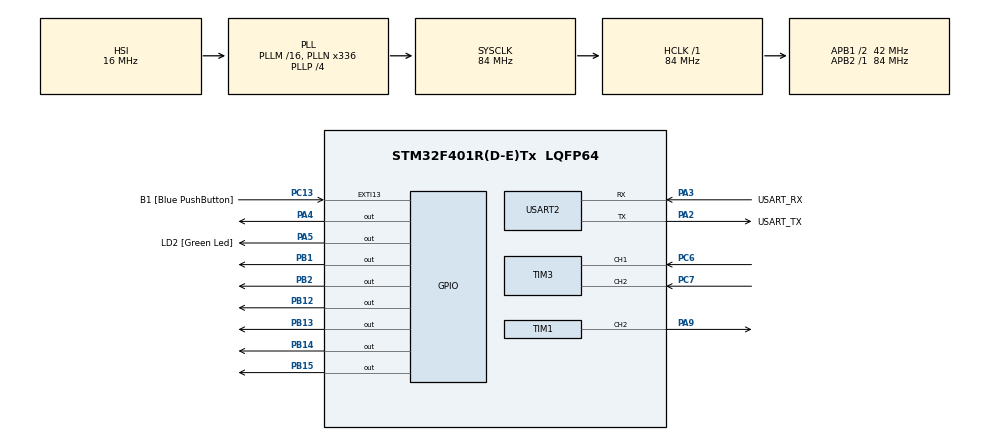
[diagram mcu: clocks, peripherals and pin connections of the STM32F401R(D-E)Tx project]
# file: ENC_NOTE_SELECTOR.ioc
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Dma.Request0=USART2_TX
Dma.USART2_TX.0.Direction=DMA_MEMORY_TO_PERIPH
Dma.USART2_TX.0.FIFOMode=DMA_FIFOMODE_DISABLE
Dma.USART2_TX.0.Instance=DMA1_Stream6
Dma.USART2_TX.0.MemDataAlignment=DMA_MDATAALIGN_BYTE
Dma.USART2_TX.0.MemInc=DMA_MINC_ENABLE
Dma.USART2_TX.0.Mode=DMA_NORMAL
Dma.USART2_TX.0.PeriphDataAlignment=DMA_PDATAALIGN_BYTE
Dma.USART2_TX.0.PeriphInc=DMA_PINC_DISABLE
Dma.USART2_TX.0.Priority=DMA_PRIORITY_HIGH
Mcu.Family=STM32F4
Mcu.Name=STM32F401R(D-E)Tx
Mcu.Package=LQFP64
NVIC.DMA1_Stream6_IRQn=true\:0\:0\:false\:false\:true\:false\:true\:true
NVIC.PriorityGroup=NVIC_PRIORITYGROUP_4
NVIC.TIM2_IRQn=true\:0\:0\:false\:false\:true\:true\:true\:true
NVIC.TIM4_IRQn=true\:0\:0\:false\:false\:true\:true\:true\:true
NVIC.USART2_IRQn=true\:0\:0\:false\:false\:true\:true\:true\:true
PA13.GPIO_Label=TMS
PA13.Mode=Trace_Asynchronous_SW
PA13.Signal=SYS_JTMS-SWDIO
PA14.GPIO_Label=TCK
PA14.Mode=Trace_Asynchronous_SW
PA14.Signal=SYS_JTCK-SWCLK
PA2.GPIO_Label=USART_TX
PA2.GPIO_Mode=GPIO_MODE_AF_PP
PA2.GPIO_PuPd=GPIO_NOPULL
PA2.GPIO_Speed=GPIO_SPEED_FREQ_LOW
PA2.Mode=Asynchronous
PA2.Signal=USART2_TX
PA3.GPIO_Label=USART_RX
PA3.GPIO_Mode=GPIO_MODE_AF_PP
PA3.GPIO_PuPd=GPIO_NOPULL
PA3.GPIO_Speed=GPIO_SPEED_FREQ_LOW
PA3.Mode=Asynchronous
PA3.Signal=USART2_RX
PA4.Signal=GPIO_Output
PA5.GPIO_Label=LD2 [Green Led]
PA5.GPIO_Mode=GPIO_MODE_OUTPUT_PP
PA5.GPIO_PuPd=GPIO_NOPULL
PA5.GPIO_Speed=GPIO_SPEED_FREQ_LOW
PA5.Signal=GPIO_Output
PA9.Signal=S_TIM1_CH2
PB1.Signal=GPIO_Output
PB12.Signal=GPIO_Output
PB13.Signal=GPIO_Output
PB14.Signal=GPIO_Output
PB15.Signal=GPIO_Output
PB2.Signal=GPIO_Output
PB3.GPIO_Label=SWO
PB3.Mode=Trace_Asynchronous_SW
PB3.Signal=SYS_JTDO-SWO
PC13-ANTI_TAMP.GPIO_Label=B1 [Blue PushButton]
PC13-ANTI_TAMP.GPIO_ModeDefaultEXTI=GPIO_MODE_IT_FALLING
PC13-ANTI_TAMP.GPIO_PuPd=GPIO_NOPULL
PC13-ANTI_TAMP.Signal=GPXTI13
PC14-OSC32_IN.Mode=LSE-External-Oscillator
PC14-OSC32_IN.Signal=RCC_OSC32_IN
PC15-OSC32_OUT.Mode=LSE-External-Oscillator
PC15-OSC32_OUT.Signal=RCC_OSC32_OUT
PC6.Signal=S_TIM3_CH1
PC7.Signal=S_TIM3_CH2
PH0\ -\ OSC_IN.Mode=HSE-External-Clock-Source
PH0\ -\ OSC_IN.Signal=RCC_OSC_IN
PH1\ -\ OSC_OUT.Mode=HSE-External-Clock-Source
PH1\ -\ OSC_OUT.Signal=RCC_OSC_OUT
ProjectManager.HeapSize=0x200
ProjectManager.StackSize=0x400
ProjectManager.TargetToolchain=STM32CubeIDE
RCC.48MHZClocksFreq_Value=48000000
RCC.AHBFreq_Value=84000000
RCC.APB1CLKDivider=RCC_HCLK_DIV2
RCC.APB1Freq_Value=42000000
RCC.APB1TimFreq_Value=84000000
RCC.APB2Freq_Value=84000000
RCC.APB2TimFreq_Value=84000000
RCC.CortexFreq_Value=84000000
RCC.HCLKFreq_Value=84000000
RCC.HSE_VALUE=8000000
RCC.HSI_VALUE=16000000
RCC.PLLN=336
RCC.PLLP=RCC_PLLP_DIV4
RCC.PLLQ=7
RCC.SYSCLKFreq_VALUE=84000000
RCC.SYSCLKSource=RCC_SYSCLKSOURCE_PLLCLK
RCC.VCOOutputFreq_Value=336000000
SH.S_TIM1_CH2.0=TIM1_CH2,PWM Generation2 CH2
SH.S_TIM3_CH1.0=TIM3_CH1,Encoder_Interface
SH.S_TIM3_CH2.0=TIM3_CH2,Encoder_Interface
TIM1.Channel-PWM\ Generation2\ CH2=TIM_CHANNEL_2
TIM1.Period=1909
TIM1.Prescaler=99
TIM1.Pulse-PWM\ Generation2\ CH2=954
TIM2.Period=8399
TIM2.Prescaler=9999
TIM3.ClockDivision=TIM_CLOCKDIVISION_DIV4
TIM3.IC1Filter=15
TIM3.IC1Polarity=TIM_ICPOLARITY_FALLING
TIM4.Period=2099
TIM4.Prescaler=9999
USART2.VirtualMode=VM_ASYNC
VP_TIM2_VS_ClockSourceINT.Mode=Internal
VP_TIM4_VS_ClockSourceINT.Mode=Internal
board=NUCLEO-F401RE

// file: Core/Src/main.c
/* USER CODE BEGIN Header */
/**
  ******************************************************************************
  * @file           : main.c
  * @brief          : Main program body
  ******************************************************************************
  * @attention
  *
  * Copyright (c) 2026 STMicroelectronics.
  * All rights reserved.
  *
  * This software is licensed under terms that can be found in the LICENSE file
  * in the root directory of this software component.
  * If no LICENSE file comes with this software, it is provided AS-IS.
  *
  ******************************************************************************
  */
/* USER CODE END Header */
#include "main.h"

/* USER CODE BEGIN Includes */
#include "stdio.h"
#include "string.h"
#include "PMDB16_LCD.h"
/* USER CODE END Includes */

/* USER CODE BEGIN PTD */
// Definiamo una struttura "Note"
typedef struct {
	char* Note;
    int Period;
    int Duration;
} Note;

/* USER CODE END PTD */

/* USER CODE BEGIN PD */
#define STEPS_PER_REVOLUTION 24

#define PeriodFA4 2405   // F4 = 349.23 Hz
#define PeriodLA4 1909   // A4 = 440.00 Hz
#define PeriodSI4 1701   // B4 = 493.88 Hz
#define PeriodDO5 1605   // C5 = 523.25 Hz
#define PeriodRE5 1430   // D5 = 587.33 Hz
#define PeriodMI5 1274   // E5 = 659.25 Hz
/* USER CODE END PD */

TIM_HandleTypeDef htim1;
TIM_HandleTypeDef htim2;
TIM_HandleTypeDef htim3;
TIM_HandleTypeDef htim4;

UART_HandleTypeDef huart2;
DMA_HandleTypeDef hdma_usart2_tx;

/* USER CODE BEGIN PV */
char tx_buffer[50];
float rpm;
static uint16_t value;
static uint16_t past_value=0;

// Song
int i=0;
int ticks=0;
uint32_t duration_note=500; // valore a caso

Note Swan_Lake[] = {
		{"Mi", PeriodMI5, 4},
		{"La", PeriodLA4, 1},
		{"Si", PeriodSI4, 1},
		{"Do", PeriodDO5, 1},
		{"Re", PeriodRE5, 1},
		{"Mi", PeriodMI5, 3},
		{"Do", PeriodDO5, 1},
		{"Mi", PeriodMI5, 3},
		{"Do", PeriodDO5, 1},
		{"Mi", PeriodMI5, 3},
		{"La", PeriodLA4, 1},
		{"Do", PeriodDO5, 1},
		{"La", PeriodLA4, 1},
		{"Fa", PeriodFA4, 1},
		{"Do", PeriodDO5, 1},
		{"La", PeriodLA4, 4}
};

// LCD
char lcd_buffer[17]; // Buffer per la stringa (16 char + terminatore)
volatile int note_changed=0;

/* USER CODE END PV */

void SystemClock_Config(void);
static void MX_GPIO_Init(void);
static void MX_DMA_Init(void);
static void MX_USART2_UART_Init(void);
static void MX_TIM2_Init(void);
static void MX_TIM3_Init(void);
static void MX_TIM4_Init(void);
static void MX_TIM1_Init(void);
/* USER CODE BEGIN PFP */
void play_note(uint32_t Period, uint32_t Duration);
/* USER CODE END PFP */

/* USER CODE BEGIN 0 */

void play_note(uint32_t Period, uint32_t Duration){
    //duration_note=Duration;
    ticks=0;

	// Aggiorna il Periodo (frequenza) nel registro del Timer
    // L'unica variabile da ri-inizializzare è quella di base (più veloce di HAL_TIM_Base_Init)
    // Usiamo una macro veloce che accede direttamente al registro
    __HAL_TIM_SET_AUTORELOAD(&htim1, Period - 1);

    // Aggiorna il Pulse (Duty Cycle)
    __HAL_TIM_SET_COMPARE(&htim1, TIM_CHANNEL_2, Period / 2);

    // Fai suonare nota
	HAL_TIM_PWM_Start(&htim1, TIM_CHANNEL_2);
}
void HAL_TIM_PeriodElapsedCallback(TIM_HandleTypeDef *htim)
{
    if (htim->Instance == TIM2)
    {
    	// Per osservare quanti "step" corrispondono ad una rivoluzione completa
    	// Così abbiamo letto CNT = 24
    	/*uint16_t curr = __HAL_TIM_GET_COUNTER(&htim3);
    	int len = sprintf(tx_buffer, "CNT = %u\r\n", curr);
    	HAL_UART_Transmit_DMA(&huart2, (uint8_t*)tx_buffer, len);*/

    	value = __HAL_TIM_GET_COUNTER(&htim3);
    	int16_t delta = (int16_t) (value-past_value);
    	rpm = ((float)delta/STEPS_PER_REVOLUTION)*60.0f;

    	if(rpm>0.1f){
    		// Rotazione Oraria
    		note_changed=1;
    		i+=1;
    		if(i==(sizeof(Swan_Lake)/sizeof(Swan_Lake[0]))){
    			i=0;
    		}
    		play_note(Swan_Lake[i].Period, Swan_Lake[i].Duration);
    	}else if(rpm<(-0.1f)){
    		// Rotazione Antioriaria
    		note_changed=1;
    		i-=1;
    		if(i<0){
    			i=(sizeof(Swan_Lake)/sizeof(Swan_Lake[0]))-1;
    		}
    		play_note(Swan_Lake[i].Period, Swan_Lake[i].Duration);
    	}

    	past_value=value;

    }

	/*if(htim->Instance == TIM4){
		ticks+=1;
		if(ticks==duration_note){
			i+=1;
			if(i==(sizeof(Swan_Lake)/sizeof(Swan_Lake[0]))){ // Fine Canzone
				i=0;
			}
			play_note(Swan_Lake[i].Period, Swan_Lake[i].Duration);
			}
		}*/
}

/* USER CODE END 0 */

int main(void)
{

  /* MCU Configuration--------------------------------------------------------*/

  /* Reset of all peripherals, Initializes the Flash interface and the Systick. */
  HAL_Init();

  /* Configure the system clock */
  SystemClock_Config();

  /* Initialize all configured peripherals */
  MX_GPIO_Init();
  MX_DMA_Init();
  MX_USART2_UART_Init();
  MX_TIM2_Init();
  MX_TIM3_Init();
  MX_TIM4_Init();
  MX_TIM1_Init();
  /* USER CODE BEGIN 2 */
  HAL_TIM_Encoder_Start(&htim3, TIM_CHANNEL_ALL);
  HAL_TIM_Base_Start_IT(&htim2);
  HAL_TIM_Base_Start_IT(&htim4);

  // Suona la prima nota
  play_note(Swan_Lake[i].Period, Swan_Lake[i].Duration);

  // LCD initialization
    lcd_initialize();
    lcd_backlight_ON();

  /* USER CODE END 2 */

  /* Infinite loop */
  while (1)
  {

    /* USER CODE BEGIN 3 */
	  if(note_changed==1){
		  note_changed=0;
		  lcd_clear();
		  sprintf(lcd_buffer, "Nota: %s", Swan_Lake[i].Note);
		  lcd_println(lcd_buffer,0);
	  }

  }
  /* USER CODE END 3 */
}

void SystemClock_Config(void)
{
  RCC_OscInitTypeDef RCC_OscInitStruct = {0};
  RCC_ClkInitTypeDef RCC_ClkInitStruct = {0};

  /** Configure the main internal regulator output voltage
  */
  __HAL_RCC_PWR_CLK_ENABLE();
  __HAL_PWR_VOLTAGESCALING_CONFIG(PWR_REGULATOR_VOLTAGE_SCALE2);

  /** Initializes the RCC Oscillators according to the specified parameters
  * in the RCC_OscInitTypeDef structure.
  */
  RCC_OscInitStruct.OscillatorType = RCC_OSCILLATORTYPE_HSI;
  RCC_OscInitStruct.HSIState = RCC_HSI_ON;
  RCC_OscInitStruct.HSICalibrationValue = RCC_HSICALIBRATION_DEFAULT;
  RCC_OscInitStruct.PLL.PLLState = RCC_PLL_ON;
  RCC_OscInitStruct.PLL.PLLSource = RCC_PLLSOURCE_HSI;
  RCC_OscInitStruct.PLL.PLLM = 16;
  RCC_OscInitStruct.PLL.PLLN = 336;
  RCC_OscInitStruct.PLL.PLLP = RCC_PLLP_DIV4;
  RCC_OscInitStruct.PLL.PLLQ = 7;
  if (HAL_RCC_OscConfig(&RCC_OscInitStruct) != HAL_OK)
  {
    Error_Handler();
  }

  /** Initializes the CPU, AHB and APB buses clocks
  */
  RCC_ClkInitStruct.ClockType = RCC_CLOCKTYPE_HCLK|RCC_CLOCKTYPE_SYSCLK
                              |RCC_CLOCKTYPE_PCLK1|RCC_CLOCKTYPE_PCLK2;
  RCC_ClkInitStruct.SYSCLKSource = RCC_SYSCLKSOURCE_PLLCLK;
  RCC_ClkInitStruct.AHBCLKDivider = RCC_SYSCLK_DIV1;
  RCC_ClkInitStruct.APB1CLKDivider = RCC_HCLK_DIV2;
  RCC_ClkInitStruct.APB2CLKDivider = RCC_HCLK_DIV1;

  if (HAL_RCC_ClockConfig(&RCC_ClkInitStruct, FLASH_LATENCY_2) != HAL_OK)
  {
    Error_Handler();
  }
}

static void MX_TIM1_Init(void)
{

  TIM_MasterConfigTypeDef sMasterConfig = {0};
  TIM_OC_InitTypeDef sConfigOC = {0};
  TIM_BreakDeadTimeConfigTypeDef sBreakDeadTimeConfig = {0};

  htim1.Instance = TIM1;
  htim1.Init.Prescaler = 99;
  htim1.Init.CounterMode = TIM_COUNTERMODE_UP;
  htim1.Init.Period = 1909;
  htim1.Init.ClockDivision = TIM_CLOCKDIVISION_DIV1;
  htim1.Init.RepetitionCounter = 0;
  htim1.Init.AutoReloadPreload = TIM_AUTORELOAD_PRELOAD_DISABLE;
  if (HAL_TIM_PWM_Init(&htim1) != HAL_OK)
  {
    Error_Handler();
  }
  sMasterConfig.MasterOutputTrigger = TIM_TRGO_RESET;
  sMasterConfig.MasterSlaveMode = TIM_MASTERSLAVEMODE_DISABLE;
  if (HAL_TIMEx_MasterConfigSynchronization(&htim1, &sMasterConfig) != HAL_OK)
  {
    Error_Handler();
  }
  sConfigOC.OCMode = TIM_OCMODE_PWM1;
  sConfigOC.Pulse = 954;
  sConfigOC.OCPolarity = TIM_OCPOLARITY_HIGH;
  sConfigOC.OCNPolarity = TIM_OCNPOLARITY_HIGH;
  sConfigOC.OCFastMode = TIM_OCFAST_DISABLE;
  sConfigOC.OCIdleState = TIM_OCIDLESTATE_RESET;
  sConfigOC.OCNIdleState = TIM_OCNIDLESTATE_RESET;
  if (HAL_TIM_PWM_ConfigChannel(&htim1, &sConfigOC, TIM_CHANNEL_2) != HAL_OK)
  {
    Error_Handler();
  }
  sBreakDeadTimeConfig.OffStateRunMode = TIM_OSSR_DISABLE;
  sBreakDeadTimeConfig.OffStateIDLEMode = TIM_OSSI_DISABLE;
  sBreakDeadTimeConfig.LockLevel = TIM_LOCKLEVEL_OFF;
  sBreakDeadTimeConfig.DeadTime = 0;
  sBreakDeadTimeConfig.BreakState = TIM_BREAK_DISABLE;
  sBreakDeadTimeConfig.BreakPolarity = TIM_BREAKPOLARITY_HIGH;
  sBreakDeadTimeConfig.AutomaticOutput = TIM_AUTOMATICOUTPUT_DISABLE;
  if (HAL_TIMEx_ConfigBreakDeadTime(&htim1, &sBreakDeadTimeConfig) != HAL_OK)
  {
    Error_Handler();
  }
  HAL_TIM_MspPostInit(&htim1);

}

static void MX_TIM2_Init(void)
{

  TIM_ClockConfigTypeDef sClockSourceConfig = {0};
  TIM_MasterConfigTypeDef sMasterConfig = {0};

  htim2.Instance = TIM2;
  htim2.Init.Prescaler = 9999;
  htim2.Init.CounterMode = TIM_COUNTERMODE_UP;
  htim2.Init.Period = 8399;
  htim2.Init.ClockDivision = TIM_CLOCKDIVISION_DIV1;
  htim2.Init.AutoReloadPreload = TIM_AUTORELOAD_PRELOAD_DISABLE;
  if (HAL_TIM_Base_Init(&htim2) != HAL_OK)
  {
    Error_Handler();
  }
  sClockSourceConfig.ClockSource = TIM_CLOCKSOURCE_INTERNAL;
  if (HAL_TIM_ConfigClockSource(&htim2, &sClockSourceConfig) != HAL_OK)
  {
    Error_Handler();
  }
  sMasterConfig.MasterOutputTrigger = TIM_TRGO_RESET;
  sMasterConfig.MasterSlaveMode = TIM_MASTERSLAVEMODE_DISABLE;
  if (HAL_TIMEx_MasterConfigSynchronization(&htim2, &sMasterConfig) != HAL_OK)
  {
    Error_Handler();
  }

}

static void MX_TIM3_Init(void)
{

  TIM_Encoder_InitTypeDef sConfig = {0};
  TIM_MasterConfigTypeDef sMasterConfig = {0};

  htim3.Instance = TIM3;
  htim3.Init.Prescaler = 0;
  htim3.Init.CounterMode = TIM_COUNTERMODE_UP;
  htim3.Init.Period = 65535;
  htim3.Init.ClockDivision = TIM_CLOCKDIVISION_DIV4;
  htim3.Init.AutoReloadPreload = TIM_AUTORELOAD_PRELOAD_DISABLE;
  sConfig.EncoderMode = TIM_ENCODERMODE_TI1;
  sConfig.IC1Polarity = TIM_ICPOLARITY_FALLING;
  sConfig.IC1Selection = TIM_ICSELECTION_DIRECTTI;
  sConfig.IC1Prescaler = TIM_ICPSC_DIV1;
  sConfig.IC1Filter = 15;
  sConfig.IC2Polarity = TIM_ICPOLARITY_RISING;
  sConfig.IC2Selection = TIM_ICSELECTION_DIRECTTI;
  sConfig.IC2Prescaler = TIM_ICPSC_DIV1;
  sConfig.IC2Filter = 0;
  if (HAL_TIM_Encoder_Init(&htim3, &sConfig) != HAL_OK)
  {
    Error_Handler();
  }
  sMasterConfig.MasterOutputTrigger = TIM_TRGO_RESET;
  sMasterConfig.MasterSlaveMode = TIM_MASTERSLAVEMODE_DISABLE;
  if (HAL_TIMEx_MasterConfigSynchronization(&htim3, &sMasterConfig) != HAL_OK)
  {
    Error_Handler();
  }

}

static void MX_TIM4_Init(void)
{

  TIM_ClockConfigTypeDef sClockSourceConfig = {0};
  TIM_MasterConfigTypeDef sMasterConfig = {0};

  htim4.Instance = TIM4;
  htim4.Init.Prescaler = 9999;
  htim4.Init.CounterMode = TIM_COUNTERMODE_UP;
  htim4.Init.Period = 2099;
  htim4.Init.ClockDivision = TIM_CLOCKDIVISION_DIV1;
  htim4.Init.AutoReloadPreload = TIM_AUTORELOAD_PRELOAD_DISABLE;
  if (HAL_TIM_Base_Init(&htim4) != HAL_OK)
  {
    Error_Handler();
  }
  sClockSourceConfig.ClockSource = TIM_CLOCKSOURCE_INTERNAL;
  if (HAL_TIM_ConfigClockSource(&htim4, &sClockSourceConfig) != HAL_OK)
  {
    Error_Handler();
  }
  sMasterConfig.MasterOutputTrigger = TIM_TRGO_RESET;
  sMasterConfig.MasterSlaveMode = TIM_MASTERSLAVEMODE_DISABLE;
  if (HAL_TIMEx_MasterConfigSynchronization(&htim4, &sMasterConfig) != HAL_OK)
  {
    Error_Handler();
  }

}

static void MX_USART2_UART_Init(void)
{

  huart2.Instance = USART2;
  huart2.Init.BaudRate = 115200;
  huart2.Init.WordLength = UART_WORDLENGTH_8B;
  huart2.Init.StopBits = UART_STOPBITS_1;
  huart2.Init.Parity = UART_PARITY_NONE;
  huart2.Init.Mode = UART_MODE_TX_RX;
  huart2.Init.HwFlowCtl = UART_HWCONTROL_NONE;
  huart2.Init.OverSampling = UART_OVERSAMPLING_16;
  if (HAL_UART_Init(&huart2) != HAL_OK)
  {
    Error_Handler();
  }

}

static void MX_DMA_Init(void)
{

  /* DMA controller clock enable */
  __HAL_RCC_DMA1_CLK_ENABLE();

  /* DMA interrupt init */
  /* DMA1_Stream6_IRQn interrupt configuration */
  HAL_NVIC_SetPriority(DMA1_Stream6_IRQn, 0, 0);
  HAL_NVIC_EnableIRQ(DMA1_Stream6_IRQn);

}

static void MX_GPIO_Init(void)
{
  GPIO_InitTypeDef GPIO_InitStruct = {0};

  /* GPIO Ports Clock Enable */
  __HAL_RCC_GPIOC_CLK_ENABLE();
  __HAL_RCC_GPIOH_CLK_ENABLE();
  __HAL_RCC_GPIOA_CLK_ENABLE();
  __HAL_RCC_GPIOB_CLK_ENABLE();

  /*Configure GPIO pin Output Level */
  HAL_GPIO_WritePin(GPIOA, GPIO_PIN_4|LD2_Pin, GPIO_PIN_RESET);

  /*Configure GPIO pin Output Level */
  HAL_GPIO_WritePin(GPIOB, GPIO_PIN_1|GPIO_PIN_2|GPIO_PIN_12|GPIO_PIN_13
                          |GPIO_PIN_14|GPIO_PIN_15, GPIO_PIN_RESET);

  /*Configure GPIO pin : B1_Pin */
  GPIO_InitStruct.Pin = B1_Pin;
  GPIO_InitStruct.Mode = GPIO_MODE_IT_FALLING;
  GPIO_InitStruct.Pull = GPIO_NOPULL;
  HAL_GPIO_Init(B1_GPIO_Port, &GPIO_InitStruct);

  /*Configure GPIO pins : PA4 LD2_Pin */
  GPIO_InitStruct.Pin = GPIO_PIN_4|LD2_Pin;
  GPIO_InitStruct.Mode = GPIO_MODE_OUTPUT_PP;
  GPIO_InitStruct.Pull = GPIO_NOPULL;
  GPIO_InitStruct.Speed = GPIO_SPEED_FREQ_LOW;
  HAL_GPIO_Init(GPIOA, &GPIO_InitStruct);

  /*Configure GPIO pins : PB1 PB2 PB12 PB13
                           PB14 PB15 */
  GPIO_InitStruct.Pin = GPIO_PIN_1|GPIO_PIN_2|GPIO_PIN_12|GPIO_PIN_13
                          |GPIO_PIN_14|GPIO_PIN_15;
  GPIO_InitStruct.Mode = GPIO_MODE_OUTPUT_PP;
  GPIO_InitStruct.Pull = GPIO_NOPULL;
  GPIO_InitStruct.Speed = GPIO_SPEED_FREQ_LOW;
  HAL_GPIO_Init(GPIOB, &GPIO_InitStruct);

}

void Error_Handler(void)
{
  __disable_irq();
  while (1)
  {
  }
}
